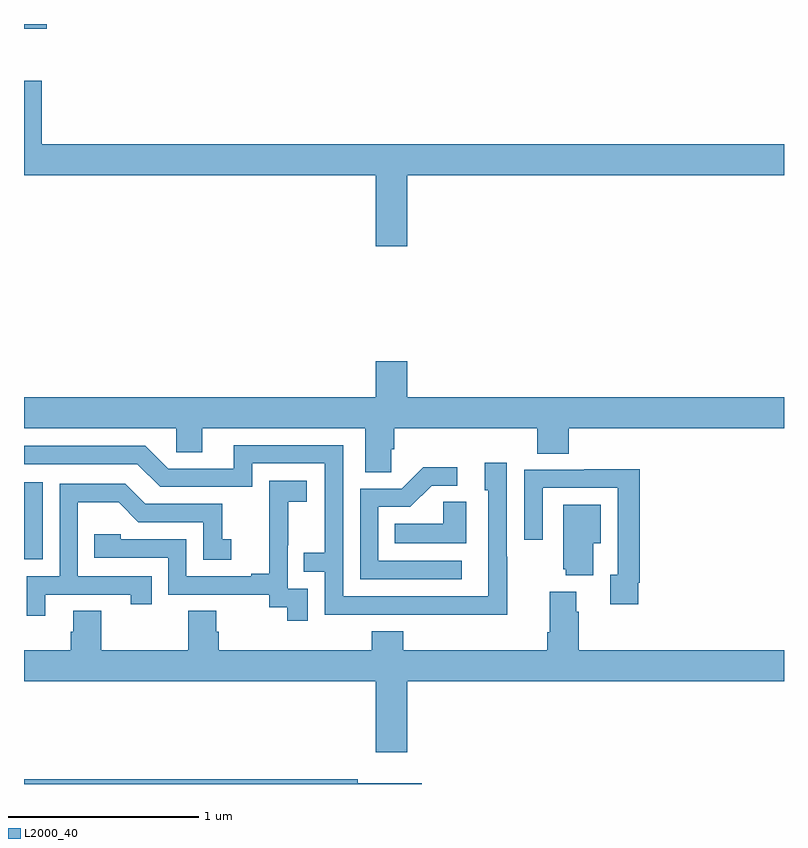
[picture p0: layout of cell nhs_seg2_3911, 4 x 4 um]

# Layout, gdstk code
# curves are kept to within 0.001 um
import gdstk
lib = gdstk.Library(unit=1e-6, precision=1e-09)
def R(c, l, rs):  # rectangles x0, y0, x1, y1
    for r in rs: c.add(gdstk.rectangle(r[:2], r[2:], *l))
def P(c, l, *ps):  # polygons
    for p in ps: c.add(gdstk.Polygon(p, *l))
L2000_40 = (2000, 40)

nhs_seg2_3911 = lib.new_cell('nhs_seg2_3911')
R(nhs_seg2_3911, L2000_40, [(319,613.776,319.121,613.8)])
P(nhs_seg2_3911, L2000_40, [(321.016,613.004),(323,613.004),(323,613.168),(319.094,613.168),(319.094,613.501),(319,613.501),(319,613.004),(320.852,613.004),(320.852,612.63),(321.016,612.63)],
  [(320.934,611.563),(320.948,611.563),(320.948,611.672),(321.701,611.672),(321.701,611.539),(321.866,611.539),(321.866,611.672),(323,611.672),(323,611.836),(321.016,611.836),(321.016,612.025),(320.852,612.025),(320.852,611.836),(319,611.836),(319,611.672),(319.8,611.672),(319.8,611.545),(319.939,611.545),(319.939,611.672),(320.795,611.672),(320.795,611.44),(320.934,611.44)],
  [(321.543,610.997),(321.54,610.997),(321.54,611.491),(321.425,611.491),(321.425,611.346),(321.444,611.346),(321.444,610.788),(320.679,610.788),(320.679,611.583),(320.105,611.583),(320.105,611.46),(319.758,611.46),(319.638,611.58),(319,611.58),(319,611.484),(319.596,611.484),(319.716,611.364),(320.202,611.364),(320.202,611.487),(320.583,611.487),(320.583,611.018),(320.473,611.018),(320.473,610.917),(320.583,610.917),(320.583,610.692),(321.543,610.691)],
  [(321.304,610.974),(320.865,610.974),(320.865,611.259),(321.034,611.259),(321.145,611.37),(321.28,611.37),(321.28,611.468),(321.101,611.468),(320.988,611.355),(320.769,611.355),(320.769,610.878),(321.304,610.878)],
  [(322.234,610.858),(322.241,610.858),(322.241,611.456),(321.949,611.456),(321.949,611.454),(321.633,611.454),(321.633,611.085),(321.729,611.085),(321.729,611.358),(322.125,611.358),(322.125,610.902),(322.085,610.902),(322.085,610.746),(322.234,610.746)],
  [(320.493,610.827),(320.388,610.827),(320.388,611.057),(320.39,611.057),(320.39,611.285),(320.488,611.285),(320.488,611.395),(320.29,611.395),(320.29,611.189),(320.291,611.189),(320.291,610.906),(320.195,610.906),(320.195,610.893),(319.854,610.893),(319.854,611.088),(319.509,611.088),(319.509,611.115),(319.369,611.115),(319.369,610.992),(319.758,610.992),(319.758,610.797),(320.292,610.797),(320.292,610.729),(320.385,610.729),(320.385,610.659),(320.493,610.659)],
  [(319.098,611.389),(319,611.389),(319,611.283),(319.001,611.283),(319.001,611.079),(319,611.079),(319,610.983),(319.098,610.983)],
  [(319.111,610.797),(319.562,610.797),(319.562,610.746),(319.673,610.746),(319.673,610.893),(319.284,610.893),(319.284,611.282),(319.498,611.282),(319.602,611.178),(319.944,611.178),(319.944,610.98),(320.092,610.98),(320.092,611.089),(320.043,611.089),(320.043,611.274),(319.639,611.274),(319.534,611.379),(319.188,611.379),(319.188,610.893),(319.014,610.893),(319.014,610.686),(319.111,610.686)],
  [(321.328,611.285),(321.207,611.285),(321.207,611.17),(320.95,611.17),(320.95,611.066),(321.328,611.066)],
  [(321.997,611.066),(322.036,611.066),(322.036,611.269),(321.839,611.269),(321.839,610.929),(321.851,610.929),(321.851,610.898),(321.997,610.898)],
  [(321.016,610.34),(323,610.34),(323,610.504),(321.92,610.504),(321.92,610.706),(321.907,610.706),(321.907,610.813),(321.767,610.813),(321.767,610.6),(321.755,610.6),(321.755,610.504),(320.996,610.504),(320.996,610.603),(320.831,610.603),(320.831,610.504),(320.024,610.504),(320.024,610.602),(320.011,610.602),(320.011,610.712),(319.864,610.712),(319.864,610.504),(319.407,610.504),(319.407,610.712),(319.259,610.712),(319.259,610.602),(319.247,610.602),(319.247,610.504),(319,610.504),(319,610.34),(320.852,610.34),(320.852,609.966),(321.016,609.966)],
  [(321.094,609.805),(320.756,609.805),(320.756,609.824),(319,609.824),(319,609.8),(321.094,609.8)])

lib.write_gds('nhs_seg2_3911.gds')
